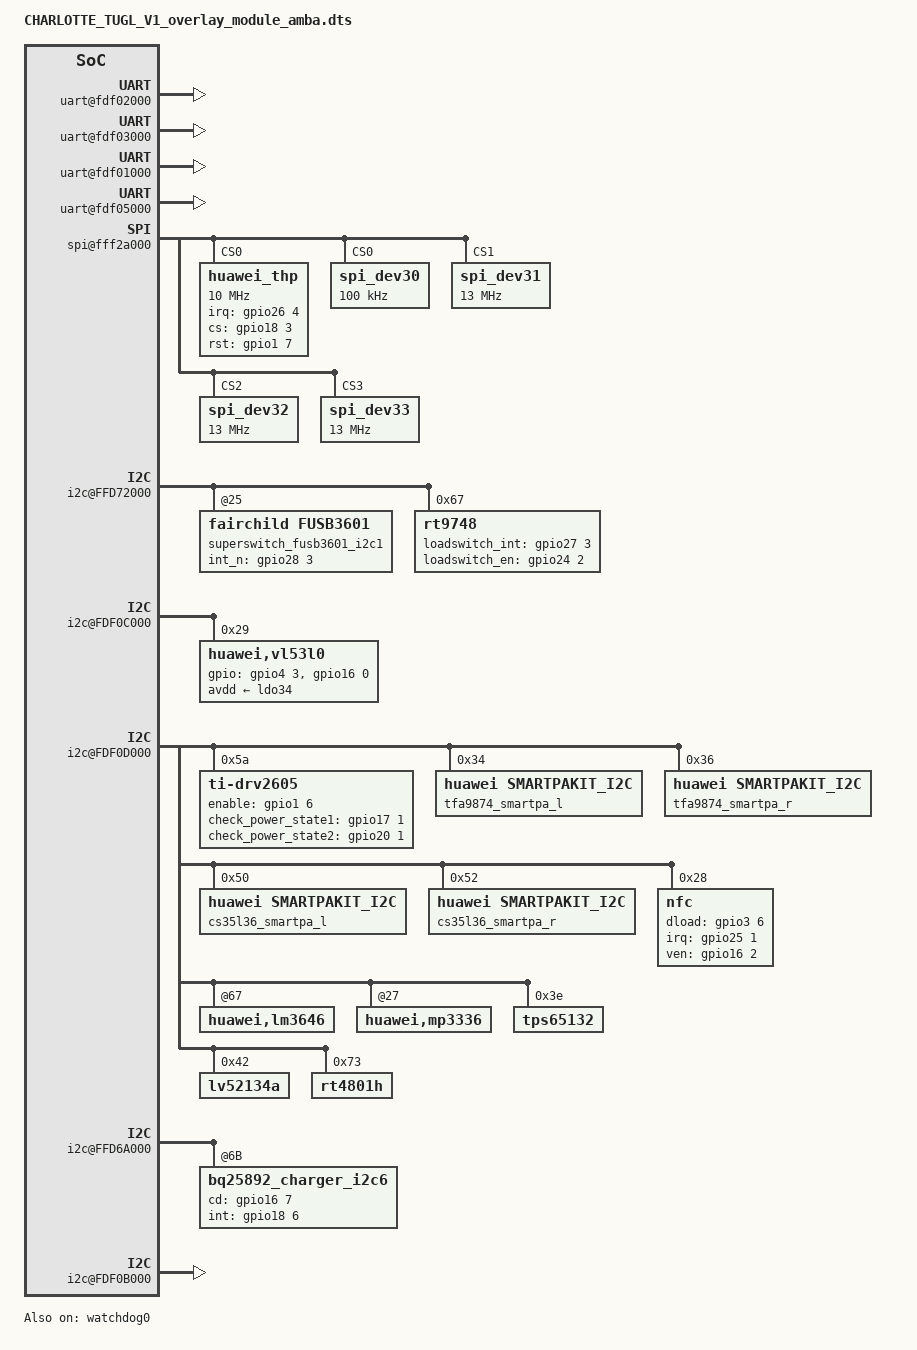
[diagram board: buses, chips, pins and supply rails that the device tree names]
&amba {
	#address-cells = <2>;
	#size-cells = <2>;
	interrupt-parent = <&gic>;
	ranges;

	/*rtc@FFF04000 {
			reg = <0xfff04000 0x1000>;
			interrupts = <0 46 0x4>;
			clocks = <&pclk>;
			clock-names = "apb_pclk";
			status = "ok";
	};*/

	/*rtc@FFF05000 {
			reg = <0xfff05000 0x1000>;
			interrupts = <0 47 0x4>;
			clocks = <&pclk>;
			clock-names = "apb_pclk";
			status = "ok";
	};*/

	watchdog0 {
		compatible = "arm,sp805", "arm,primecell";
		reg = <0x0 0xe8a06000 0x0 0x1000>;
		default-timeout = <24>;
		interrupts = <0 44 4>;
		clocks = <&pclk_gate_wd0 &pclk>;
		clock-names = "pclk_wd0", "apb_pclk";
		status = "ok";
	};

	watchdog@ffd7c000 {
		reg = <0x0 0xFFD7C000 0x0 0x1000>;
		status = "ok";
	};

	/*wdt1@e8a07000 {
		reg = <0x0 0xe8a07000 0x0 0x1000>;
		interrupts = <0 45 4>;
		clocks = <&pclk_gate_wd0 &pclk>;
		clock-names = "pclk_wd0", "apb_pclk";
	};*/

	uart@fdf02000 {
		pinctrl-names = "default", "idle";
		pinctrl-0 = <&gpio035_pmx_func &gpio036_pmx_func &gpio035_cfg_func &gpio036_cfg_func>;
		pinctrl-1 = <&gpio035_pmx_idle &gpio036_pmx_idle &gpio035_cfg_idle &gpio036_cfg_idle>;
		dma-names = "", "";
		dmas = <>;
		clock-rate = <0 19200000>;
		status = "ok";
	};

	uart@fdf00000 {
		pinctrl-names = "default", "idle";
		pinctrl-0 = <>;
		pinctrl-1 = <>;
		clock-rate = <0 111000000>;
		status = "disabled";
		reset-enable-flag = <1>;
	};

	uart@fdf03000 {
		pinctrl-names = "default", "idle";
		pinctrl-0 = <>;
		pinctrl-1 = <>;
		clock-rate = <0 111000000>;
		status = "ok";
		reset-enable-flag = <1>;
	};

	uart@ffd74000 {
		pinctrl-names = "default", "idle";
		pinctrl-0 = <>;
		pinctrl-1 = <>;
		clock-rate = <0 100000000>;
		status = "disabled";
		reset-enable-flag = <0>;
	};

	uart@fdf01000 {
		pinctrl-names = "default", "idle";
		pinctrl-0 = <&gpio043_pmx_func &gpio044_pmx_func &gpio045_pmx_func &gpio046_pmx_func &gpio043_cfg_func &gpio044_cfg_func &gpio045_cfg_func &gpio046_cfg_func>;
		pinctrl-1 = <&gpio043_pmx_idle &gpio044_pmx_idle &gpio045_pmx_idle &gpio046_pmx_idle &gpio043_cfg_idle &gpio044_cfg_idle &gpio045_cfg_idle &gpio046_cfg_idle>;
		clock-rate = <0 111000000>;
		status = "ok";
		reset-enable-flag = <1>;
	};

	uart@fdf05000 {
		pinctrl-names = "default", "idle";
		pinctrl-0 = <&gpio039_pmx_func &gpio040_pmx_func &gpio041_pmx_func &gpio042_pmx_func &gpio039_cfg_func &gpio040_cfg_func &gpio041_cfg_func &gpio042_cfg_func>;
		pinctrl-1 = <&gpio039_pmx_idle &gpio040_pmx_idle &gpio041_pmx_idle &gpio042_pmx_idle &gpio039_cfg_idle &gpio040_cfg_idle &gpio041_cfg_idle &gpio042_cfg_idle>;
		clock-rate = <0 111000000>;
		status = "ok";
		reset-enable-flag = <1>;
	};

	uart@fff32000 {
		pinctrl-names = "default", "idle";
		pinctrl-0 = <&gpio037_pmx_func &gpio038_pmx_func &gpio037_cfg_func &gpio038_cfg_func>;
		pinctrl-1 = <&gpio037_pmx_idle &gpio038_pmx_idle &gpio037_cfg_idle &gpio038_cfg_idle>;
		clock-rate = <0 19200000>;
		console-fifo-enable = <1>;
		console-fifo-size = <262144>;/* 256k */
		console-fifo-cpuon = <3>;
	};

	dx_cc63p@fdf0e000 {
		reg = <0x0 0xfdf0e000 0x0 0x1000>;
		interrupt-parent = <&gic>;
		interrupts = <0 135 4>;
		status = "ok";
	};

	spi@ffd70000 {
		status = "disabled";
		hardware-mutex = <0x01>;
		clock-rate = <0 134400000>;

		spi_dev0@0 {
			spi-max-frequency = <100000>;
			reg = <0>;
			pl022,com-mode = <0>;
			pl022,interface = <0>;
			pl022,rx-level-trig = <3>;
			pl022,tx-level-trig = <3>;
			pl022,ctrl-len = <7>;
			pl022,wait-state = <0>;
			pl022,duplex = <0>;
			pl022,slave-tx-disable = <0>;
		};

		spi_dev1@1 {
			spi-max-frequency = <13000000>;
			reg = <1>;
			pl022,com-mode = <1>;
			pl022,interface = <0>;
			pl022,rx-level-trig = <3>;
			pl022,tx-level-trig = <3>;
			pl022,ctrl-len = <7>;
			pl022,wait-state = <0>;
			pl022,duplex = <0>;
			pl022,slave-tx-disable = <0>;
		};

		spi_dev2@2 {
			spi-max-frequency = <13000000>;
			reg = <2>;
			pl022,com-mode = <2>;
			pl022,interface = <0>;
			pl022,rx-level-trig = <3>;
			pl022,tx-level-trig = <3>;
			pl022,ctrl-len = <7>;
			pl022,wait-state = <0>;
			pl022,duplex = <0>;
			pl022,slave-tx-disable = <0>;
		};

		spi_dev3@3 {
			spi-max-frequency = <13000000>;
			reg = <3>;
			pl022,com-mode = <0>;
			pl022,interface = <0>;
			pl022,rx-level-trig = <3>;
			pl022,tx-level-trig = <3>;
			pl022,ctrl-len = <7>;
			pl022,wait-state = <0>;
			pl022,duplex = <0>;
			pl022,slave-tx-disable = <0>;
		};
	};

	spi@fdf08000 {
		status = "disabled";
		clock-rate = <19200000>;
		pinctrl-names = "default", "idle";
		pinctrl-0 = <&gpio008_pmx_func &gpio009_pmx_func &gpio010_pmx_func &gpio008_cfg_func &gpio009_cfg_func
				&gpio010_cfg_func>;
		pinctrl-1 = <&gpio008_pmx_idle &gpio009_pmx_idle &gpio010_pmx_idle &gpio008_cfg_idle &gpio009_cfg_idle
				&gpio010_cfg_idle>;

		spi_dev10@10 {
			spi-max-frequency = <100000>;
			reg = <0>;
			pl022,com-mode = <0>;
			pl022,interface = <0>;
			pl022,rx-level-trig = <3>;
			pl022,tx-level-trig = <3>;
			pl022,ctrl-len = <7>;
			pl022,wait-state = <0>;
			pl022,duplex = <0>;
			pl022,slave-tx-disable = <0>;
		};
	};

	spi@fff2a000 {
		status = "ok";

		clock-rate = <120000000>;
		pinctrl-names = "default", "idle";
		pinctrl-0 = <&gpio144_pmx_func &gpio145_pmx_func &gpio146_pmx_func &gpio144_cfg_func &gpio145_cfg_func
				&gpio146_cfg_func>;
		pinctrl-1 = <&gpio144_pmx_idle &gpio145_pmx_idle &gpio146_pmx_idle &gpio144_cfg_idle &gpio145_cfg_idle
				&gpio146_cfg_idle>;

		huawei_thp@10 {
			spi-max-frequency = <10000000>;
			spi-bus-id = <3>;
			reg = <0>;
			pl022,com-mode = <2>;
			pl022,interface = <0>;
			pl022,rx-level-trig = <3>;
			pl022,tx-level-trig = <3>;
			pl022,ctrl-len = <7>;
			pl022,wait-state = <0>;
			pl022,duplex = <0>;
			pl022,slave-tx-disable = <0>;
			irq_gpio = <&gpio26 4 0>;
			cs_gpio = <&gpio18 3 0>;
			rst_gpio = <&gpio1 7 0>;
			boot_reset_hi_delay_ms = <1>;
			boot_reset_low_delay_ms = <0>;
			boot_reset_after_delay_ms = <0>;
			resume_reset_after_delay_ms = <1>;
			suspend_reset_after_delay_ms = <0>;
			spi_sync_cs_hi_delay_ns = <200>;
			spi_sync_cs_low_delay_ns = <10>;

			thp_input_dev {
				abs_max_x = <1080>;
				abs_max_y = <1920>;
			};

			novatech {
				spi_sync_cs_hi_delay_ns = <200>;
				spi_sync_cs_low_delay_ns = <200>;
			};

			rohm-bu21150 {
				spi_sync_cs_hi_delay_ns = <200>;
				spi_sync_cs_low_delay_ns = <10>;
			};
		};

		spi_dev30@30 {
			spi-max-frequency = <100000>;
			reg = <0>;
			pl022,com-mode = <0>;
			pl022,interface = <0>;
			pl022,rx-level-trig = <3>;
			pl022,tx-level-trig = <3>;
			pl022,ctrl-len = <7>;
			pl022,wait-state = <0>;
			pl022,duplex = <0>;
			pl022,slave-tx-disable = <0>;
		};

		spi_dev31@31 {
			spi-max-frequency = <13000000>;
			reg = <1>;
			pl022,com-mode = <1>;
			pl022,interface = <0>;
			pl022,rx-level-trig = <3>;
			pl022,tx-level-trig = <3>;
			pl022,ctrl-len = <7>;
			pl022,wait-state = <0>;
			pl022,duplex = <0>;
			pl022,slave-tx-disable = <0>;
		};

		spi_dev32@32 {
			spi-max-frequency = <13000000>;
			reg = <2>;
			pl022,com-mode = <2>;
			pl022,interface = <0>;
			pl022,rx-level-trig = <3>;
			pl022,tx-level-trig = <3>;
			pl022,ctrl-len = <7>;
			pl022,wait-state = <0>;
			pl022,duplex = <0>;
			pl022,slave-tx-disable = <0>;
		};

		spi_dev33@33 {
			spi-max-frequency = <13000000>;
			reg = <3>;
			pl022,com-mode = <0>;
			pl022,interface = <0>;
			pl022,rx-level-trig = <3>;
			pl022,tx-level-trig = <3>;
			pl022,ctrl-len = <7>;
			pl022,wait-state = <0>;
			pl022,duplex = <0>;
			pl022,slave-tx-disable = <0>;
		};
	};

	spi@fdf06000 {
		status = "disabled";
		clock-rate = <19200000>;
		spi_dev40@40 {
			spi-max-frequency = <100000>;
			reg = <0>;
			pl022,com-mode = <0>;
			pl022,interface = <0>;
			pl022,rx-level-trig = <3>;
			pl022,tx-level-trig = <3>;
			pl022,ctrl-len = <7>;
			pl022,wait-state = <0>;
			pl022,duplex = <0>;
			pl022,slave-tx-disable = <0>;
		};

		spi_dev41@41 {
			spi-max-frequency = <13000000>;
			reg = <1>;
			pl022,com-mode = <1>;
			pl022,interface = <0>;
			pl022,rx-level-trig = <3>;
			pl022,tx-level-trig = <3>;
			pl022,ctrl-len = <7>;
			pl022,wait-state = <0>;
			pl022,duplex = <0>;
			pl022,slave-tx-disable = <0>;
		};

		spi_dev42@42 {
			spi-max-frequency = <13000000>;
			reg = <2>;
			pl022,com-mode = <2>;
			pl022,interface = <0>;
			pl022,rx-level-trig = <3>;
			pl022,tx-level-trig = <3>;
			pl022,ctrl-len = <7>;
			pl022,wait-state = <0>;
			pl022,duplex = <0>;
			pl022,slave-tx-disable = <0>;
		};

		spi_dev43@43 {
			spi-max-frequency = <13000000>;
			reg = <3>;
			pl022,com-mode = <0>;
			pl022,interface = <0>;
			pl022,rx-level-trig = <3>;
			pl022,tx-level-trig = <3>;
			pl022,ctrl-len = <7>;
			pl022,wait-state = <0>;
			pl022,duplex = <0>;
			pl022,slave-tx-disable = <0>;
		};
	};

	/* I2C0 ~ I2C4 */
	i2c@FFD71000 {
		status = "disabled";
		pinctrl-names = "default", "idle";
		pinctrl-0 = <>;
		pinctrl-1 = <>;
		//cs-gpios = <>, <>;
	};

	i2c@FFD72000 {
		status = "ok";
		clock-rate = <0 33600000>;
		pinctrl-names = "default", "idle";
		pinctrl-0 = <&gpio188_pmx_func &gpio189_pmx_func &gpio188_cfg_func &gpio189_cfg_func>;
		pinctrl-1 = <&gpio188_pmx_idle &gpio189_pmx_idle &gpio188_cfg_idle &gpio189_cfg_idle>;
		cs-gpios = <&gpio23 4 0>, <&gpio23 5 0>;
		superswitch_fusb3601_i2c1@25 {
			fairchild,int_n = <&gpio28 3 0>;
			dpd_enable = <0>;
			compatible = "fairchild,fusb3601";
			i2c_clk_reset_gpio = <188>;
			i2c_dat_reset_gpio = <189>;
			status = "ok";
		};

		fusb30x_i2c1@22 {
			status = "disabled";
			fairchild,int_n = <&gpio27 5 0>;
		};

		rt1711_i2c1@4e {
			status = "disabled";
			rt1711,irq_pin = <&gpio27 5 0>;
		};

		tusb422_i2c1@20 {
			status = "disabled";
			ti,alert-gpio = <&gpio27 5 0>;
		};

		rt9748@67 {
			loadswitch_int = <&gpio27 3 0>;
			loadswitch_en = <&gpio24 2 0>;
			reg = <0x67>;
			status = "ok";
		};
	};

	i2c@FFD73000 {
		status = "disabled";
		clock-rate = <0 33600000>;
		pinctrl-names = "default", "idle";
		pinctrl-0 = <&gpio190_pmx_func &gpio191_pmx_func &gpio190_cfg_func &gpio191_cfg_func>;
		pinctrl-1 = <&gpio190_pmx_idle &gpio191_pmx_idle &gpio190_cfg_idle &gpio191_cfg_idle>;
		cs-gpios = <&gpio23 6 0>, <&gpio23 7 0>;
	};

	i2c@FDF0C000 {
		status = "ok";
		clock-rate = <0 111000000>;
		pinctrl-names = "default", "idle";
		pinctrl-0 = <&gpio006_pmx_func &gpio007_pmx_func &gpio006_cfg_func &gpio007_cfg_func>;
		pinctrl-1 = <&gpio006_pmx_idle &gpio007_pmx_idle &gpio006_cfg_idle &gpio007_cfg_idle>;
		cs-gpios = <&gpio0 6 0>, <&gpio0 7 0>;

		ti,lm36923 {
			reg = <0x36>;
			lm36923-ctrl-mode = <0>;
			lcd-bl-ic-name = "LM36923YFFR";
			lm36923-led-num = <2>;
			fake_panel_enable_reg = <3>;
			lm36923_hw_en_gpio = <11>;
			lm36923-boost-ctrl-1 = <0x7D>;
			lm36923-fault-ctrl = <0x00>;
			status = "ok";
		};

		max77813@18 {
			gpio_pok = <&gpio26 3 0>;
			reg = <0x18>;
			status = "disabled";
		};

		huawei,vl53l0@29 {
			huawei,laser_name = "vl53l0_970";
			reg = <0x29>;
			product_name = "ALPS_LASER";
			avdd-supply = <&ldo34>;
			huawei,ldo-names = "avdd";
			gpios = <&gpio4 3 0 &gpio16 0 0>;
			huawei,gpio-ctrl-types = "xsdn", "intr";
			pinctrl-names = "default", "idle";
			pinctrl-0 = <&gpio035_pmx_func &gpio035_cfg_func>;
			pinctrl-1 = <&gpio035_pmx_idle &gpio035_cfg_idle>;
			status = "ok";
		};
	};

	i2c@FDF0D000 {
		status = "ok";
		clock-rate = <0 111000000>;
		pinctrl-names = "default", "idle";
		pinctrl-0 = <&gpio026_pmx_func &gpio027_pmx_func &gpio026_cfg_func &gpio027_cfg_func>;
		pinctrl-1 = <&gpio026_pmx_idle &gpio027_pmx_idle &gpio026_cfg_idle &gpio027_cfg_idle>;
		cs-gpios = <&gpio3 2 0>, <&gpio3 3 0>;

		ti-drv2605@5a {
			status = "ok";
			ti,max-timeout-ms = <10000>;
			ti,label = "vibrator";
			reg = <0x5a>;
			gpio-enable = <&gpio1 6 0>;
			lra_rated_voltage = <0x36>;
			lra_overdriver_voltage = <0x76>;
			lra_rtp_strength = <0x7F>;
			check_power_state1 = <&gpio17 1 0>;
			check_power_state2 = <&gpio20 1 0>;
			check_power_time = <3>;
		};

		tfa9874_smartpa_l:smartpa@34{
			compatible = "huawei,smartpakit_i2c";
			reg = <0x34>;
			/* 0 MAXIM, 1 NXP, 2 TI, 3 OTHER, 4:huawei customize */
			chip_vendor = <4>;
			/* refer to smartpakit.out_device prop */
			chip_id = <0>;
			chip_model = "tfa9874";
			status = "ok";

			/* reg_ctl node: a node contains three data<addr value ctl_type>
			* ctl_type: 0 read reg(default), 1 write reg, 2 only time delay
			* value:
			*     read:  reg number(num >= 1)
			*     write: reg value
			*     delay: time delay
			* time delay unit: msecs */
			version_regs = <0x03 1 0>;
			dump_regs = <0 256 0>;

			hw_reset {
				gpio_reset = <134>;
				/* gpio_state node: a node contains two data<state delay>
				* time delay unit: msecs */
				ctl_sequence = <1 1 0 1>;
			};
			irq_handler {
				gpio_irq = <200>;
				/* 0x0 IRQF_TRIGGER_NONE, 0x1 IRQF_TRIGGER_RISING, 0x2 IRQF_TRIGGER_FALLING, 0x4 IRQF_TRIGGER_HIGH, 0x8 IRQF_TRIGGER_LOW*/
				irq_flags = <2>;
				/* whether or not need reset chip*/
				need_reset;
				rw_sequence = <
					0x10 1 0
					0x11 1 0
					0x13 1 0
					0x14 1 0
					0x40 1 0
					0x41 1 0
					0x42 1 0
				>;
			};

			regmap_cfg {
				reg_bits = <8>;
				val_bits = <16>;
				/* 0 REGCACHE_NONE, 1 REGCACHE_RBTREE, 2 REGCACHE_COMPRESSED, 3 REGCACHE_FLAT */
				cache_type = <0>;
				max_register = <0xff>;
				reg_defaults = <
					0x00 0x1801
					0x01 0x0014
				>;
			};
		};

		tfa9874_smartpa_r:smartpa@36{
			compatible = "huawei,smartpakit_i2c";
			reg = <0x36>;
			/* 0 MAXIM, 1 NXP, 2 TI, 3 OTHER, 4:huawei customize */
			chip_vendor = <4>;
			/* refer to smartpakit.out_device prop */
			chip_id = <1>;
			chip_model = "tfa9874";
			status = "ok";

			/* reg_ctl node: a node contains three data<addr value ctl_type>
			* ctl_type: 0 read reg(default), 1 write reg, 2 only time delay
			* value:
			*     read:  reg number(num >= 1)
			*     write: reg value
			*     delay: time delay
			* time delay unit: msecs */
			version_regs = <0x03 1 0>;
			dump_regs = <0 256 0>;

			hw_reset {
				gpio_reset = <146>;
				/* gpio_state node: a node contains two data<state delay>
				* time delay unit: msecs */
				ctl_sequence = <1 1 0 1>;
			};

			irq_handler {
				gpio_irq = <184>;
				/* 0x0 IRQF_TRIGGER_NONE, 0x1 IRQF_TRIGGER_RISING, 0x2 IRQF_TRIGGER_FALLING, 0x4 IRQF_TRIGGER_HIGH, 0x8 IRQF_TRIGGER_LOW*/
				irq_flags = <2>;
				/* whether or not need reset chip*/
				need_reset;
				rw_sequence = <
					0x10 1 0
					0x11 1 0
					0x13 1 0
					0x14 1 0
					0x40 1 0
					0x41 1 0
					0x42 1 0
				>;
			};

			regmap_cfg {
				reg_bits = <8>;
				val_bits = <16>;
				/* 0 REGCACHE_NONE, 1 REGCACHE_RBTREE, 2 REGCACHE_COMPRESSED, 3 REGCACHE_FLAT */
				cache_type = <0>;
				max_register = <0xff>;
				reg_defaults = <
					0x00 0x1801
					0x01 0x0014
				>;
			};
		};

		cs35l36_smartpa_l:smartpa@50{
			compatible = "huawei,smartpakit_i2c";
			reg = <0x50>;
			/* 0 MAXIM, 1 NXP, 2 TI, 3 OTHER, 4:huawei customize */
			chip_vendor = <4>;
			/* refer to smartpakit.out_device prop */
			chip_id = <0>;
			chip_model = "cs35l36";
			status = "ok";

			/* reg_ctl node: a node contains three data<addr value ctl_type>
			* ctl_type: 0 read reg(default), 1 write reg, 2 only time delay
			* value:
			*     read:  reg number(num >= 1)
			*     write: reg value
			*     delay: time delay
			* time delay unit: msecs */
			version_regs = <0x0 1 0>;
			dump_regs = <
				0x000000 1          0
				0x000008 1          0
				0x002014 0x21       0
				0x002400 1          0
				0x002c04 0xd        0
				0x003800 0x31       0
				0x004004 1          0
				0x004220 1          0
				0x004300 1          0
				0x004800 0x3d       0
				0x004C00 1          0
				0x004C20 0x15       0
				0x006000 1          0
				0x006404 0x11       0
				0x006450 1          0
				0x006800 0x9        0
				0x006C04 1          0
				0xd00000 0x4d       0
				0xe02800 1          0>;

			hw_reset {
				gpio_reset = <134>;
				/* gpio_state node: a node contains two data<state delay>
				* time delay unit: msecs */
				ctl_sequence = <1 1 0 1>;
			};

			irq_handler {
				gpio_irq = <200>;
				/* 0x0 IRQF_TRIGGER_NONE, 0x1 IRQF_TRIGGER_RISING, 0x2 IRQF_TRIGGER_FALLING, 0x4 IRQF_TRIGGER_HIGH, 0x8 IRQF_TRIGGER_LOW*/
				irq_flags = <2>;
				/* whether or not need reset chip*/
				need_reset;
				rw_sequence = <
					0xd00020 1          0
					0xd00024 1          0
					0xd00028 1          0
					0xd0002c 1          0
					0xd00000 0xffffffff 1
					0xd00004 0xffffffff 1
					0xd00008 0xffffffff 1
					0xd0000c 0xffffffff 1
				>;
			};

			regmap_cfg {
				reg_bits = <32>;
				val_bits = <32>;
				/* 0 REGCACHE_NONE, 1 REGCACHE_RBTREE, 2 REGCACHE_COMPRESSED, 3 REGCACHE_FLAT */
				cache_type = <0>;
				max_register = <0xe0ffff>;
			};
		};

		cs35l36_smartpa_r:smartpa@52{
			compatible = "huawei,smartpakit_i2c";
			reg = <0x52>;
			/* 0 MAXIM, 1 NXP, 2 TI, 3 OTHER, 4:huawei customize */
			chip_vendor = <4>;
			/* refer to smartpakit.out_device prop */
			chip_id = <1>;
			chip_model = "cs35l36";
			status = "ok";

			/* reg_ctl node: a node contains three data<addr value ctl_type>
			* ctl_type: 0 read reg(default), 1 write reg, 2 only time delay
			* value:
			*     read:  reg number(num >= 1)
			*     write: reg value
			*     delay: time delay
			* time delay unit: msecs */
			version_regs = <0x0 1 0>;
			dump_regs = <
				0x000000 1          0
				0x000008 1          0
				0x002014 0x21       0
				0x002400 1          0
				0x002c04 0xd        0
				0x003800 0x31       0
				0x004004 1          0
				0x004220 1          0
				0x004300 1          0
				0x004800 0x3d       0
				0x004C00 1          0
				0x004C20 0x15       0
				0x006000 1          0
				0x006404 0x11       0
				0x006450 1          0
				0x006800 0x9        0
				0x006C04 1          0
				0xd00000 0x4d       0
				0xe02800 1          0>;

			hw_reset {
				gpio_reset = <146>;
				/* gpio_state node: a node contains two data<state delay>
				* time delay unit: msecs */
				ctl_sequence = <1 1 0 1>;
			};

			irq_handler {
				gpio_irq = <184>;
				/* 0x0 IRQF_TRIGGER_NONE, 0x1 IRQF_TRIGGER_RISING, 0x2 IRQF_TRIGGER_FALLING, 0x4 IRQF_TRIGGER_HIGH, 0x8 IRQF_TRIGGER_LOW*/
				irq_flags = <2>;
				/* whether or not need reset chip*/
				need_reset;
				rw_sequence = <
					0xd00020 1          0
					0xd00024 1          0
					0xd00028 1          0
					0xd0002c 1          0
					0xd00000 0xffffffff 1
					0xd00004 0xffffffff 1
					0xd00008 0xffffffff 1
					0xd0000c 0xffffffff 1
				>;
			};

			regmap_cfg {
				reg_bits = <32>;
				val_bits = <32>;
				/* 0 REGCACHE_NONE, 1 REGCACHE_RBTREE, 2 REGCACHE_COMPRESSED, 3 REGCACHE_FLAT */
				cache_type = <0>;
				max_register = <0xe0ffff>;
			};
		};

		nfc@28 {
			status = "ok";
			nfc_on_type = "gpio";
			nfc_brcm_conf_name = "libnfc-brcm.conf";
			nfc_nxp_name = "libnfc-nxp.conf";
			nfc_card_num = <0x2>;
			clk_status ="pmu_hi6421v600";
			pn547,dload = <&gpio3 6 0>;
			pn547,irq = <&gpio25 1 0>;
			pn547,ven = <&gpio16 2 0>;
			pinctrl-1 = <&gpio201_pmx_idle &gpio130_pmx_idle>;
			pinctrl-0 = <&gpio201_pmx_func &gpio130_pmx_func>;
			pinctrl-names = "default","idle";
			clock-names = "clk_out0";
			clocks = <&clk_gate_out0>;
			reg = <0x28>;
			nfc_chip_type = "pn551";
			nfc_single_channel = "true";
			nfc_ese_type = "hisee";
			nfc_svdd_sw = "hi6421v600_pmic";
		};

		nfc2@28 {
			status = "disabled";
		};

		huawei,lm3646@67 {
			huawei,need-wakelock = <0>;
			huawei,flash-pin = <36 999 999>;
			status = "ok";
		};

		huawei,mp3336@27 {
			huawei,need-wakelock = <0>;
			huawei,flash-pin = <36 999 999>;
			status = "ok";
		};

		tps65132@3e {
			status = "ok";
			reg = <0x3e>;
		};

		lv52134a@42 {
			status = "ok";
			reg = <0x42>;
		};

		rt4801h@73 {
			status = "ok";
			reg = <0x73>;
		};
	};

	i2c@FFD6A000 {
		status = "ok";
		clock-rate = <0 33600000>;
		pinctrl-names = "default", "idle";
		pinctrl-0 = <&gpio199_pmx_func &gpio198_pmx_func &gpio199_cfg_func &gpio198_cfg_func>;
		pinctrl-1 = <&gpio199_pmx_idle &gpio198_pmx_idle &gpio199_cfg_idle &gpio198_cfg_idle>;
		cs-gpios = <&gpio24 7 0>, <&gpio24 6 0>;

		bq25892_charger_i2c6@6B {
			status = "ok";
			fcp_support = <0>;
			scp_support = <0>;
			vclamp = <150>;
			bat_comp = <30>;
			rilim = <150>;
			gpio_cd = <&gpio16 7 0>;
			gpio_int = <&gpio18 6 0>;
			adc_channel_iin = <6>;
			ico_current_mode = <0>;
		};
	};

	i2c@FDF0B000 {
		status = "ok";
		clock-rate = <0 111000000>;
		pinctrl-names = "default", "idle";
		pinctrl-0 = <&gpio190_pmx_func &gpio191_pmx_func &gpio190_cfg_func &gpio191_cfg_func>;
		pinctrl-1 = <&gpio190_pmx_idle &gpio191_pmx_idle &gpio190_cfg_idle &gpio191_cfg_idle>;
		cs-gpios = <&gpio23 6 0>, <&gpio23 7 0>;
	};
};
/* end amba */
